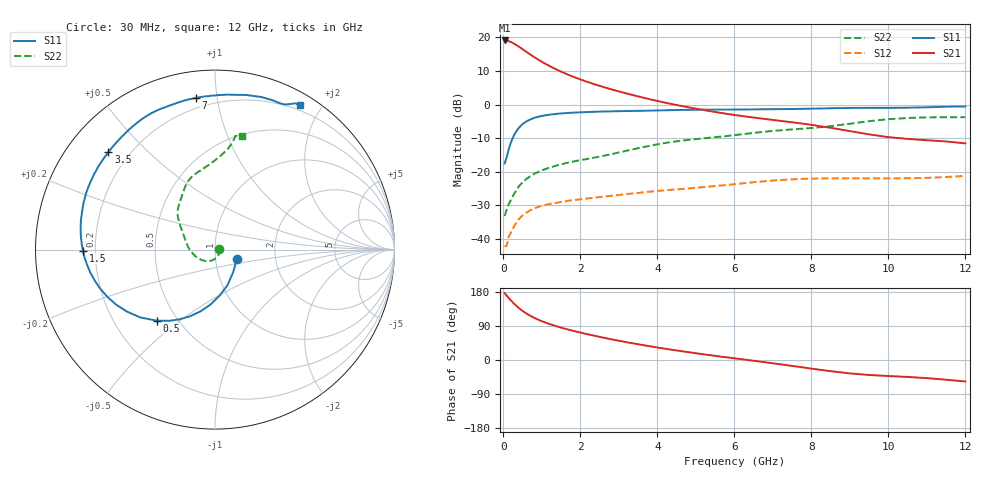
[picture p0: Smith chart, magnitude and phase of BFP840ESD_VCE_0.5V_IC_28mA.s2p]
! Infineon Technologies  Discrete & RF Semiconductors
! BFP840ESD
! VCE =  0.5 V,  IC =  28 mA
! Common Emitter S-Parameters:  May 2012
# GHz  S  MA  R  50
!  f  S11  S21  S12  S22
! GHz  MAG  ANG  MAG  ANG  MAG  ANG  MAG  ANG
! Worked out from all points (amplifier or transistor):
!   93 points, 30 MHz to 12 GHz, reference 50 ohm
!   highest |S21| = 19.1 dB at 30 MHz (marker M1)
!   |S21| within 3 dB of that: start of sweep to 546.3 MHz
!   unconditionally stable (mu >= 1): start of sweep to end of sweep
!   at 1.1 GHz: K = 2.07, MAG = 15.1 dB, |S12| = -29.9 dB
!   at 4.2 GHz: K = 2.90, MAG = 5.6 dB, |S12| = -25.6 dB
!   at 12 GHz: K = 2.11, MAG = -1.1 dB, |S12| = -21.3 dB
!   S11 on the Smith chart (normalised r, x): 30 MHz: 1.27, -0.13; 500 MHz: 0.39, -0.41; 1.5 GHz: 0.15, -0.00; 3.5 GHz: 0.12, +0.38; 7 GHz: 0.14, +0.87; 12 GHz: 0.14, +1.73
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0.03  0.1324 -22.6  8.975 176.6  0.0078 14.6  0.0219 7.9
0.08  0.1612 -51.0  8.943 170.4  0.0078 24.2  0.0269 -23.9
0.13  0.2093 -70.4  8.783 164.5  0.0106 33.2  0.032 -43.1
0.18  0.2579 -84.3  8.551 158.8  0.012 36.4  0.0367 -60.1
0.28  0.3538 -103.3  8.01 148.2  0.0155 40.9  0.0471 -81.9
0.38  0.4353 -116.9  7.375 138.9  0.0191 42.6  0.0583 -99.7
0.5  0.5126 -129.4  6.63 129.3  0.0225 41.1  0.0695 -114.9
0.6  0.5624 -137.8  6.048 122.5  0.0246 38.9  0.0785 -125.0
0.7  0.6002 -144.9  5.534 116.6  0.0268 37.3  0.0859 -133.7
0.9  0.6555 -156.4  4.674 106.5  0.0299 34.1  0.0988 -147.2
1  0.6758 -161.3  4.318 102.3  0.0313 33.0  0.105 -152.4
1.2  0.7065 -169.5  3.734 94.8  0.0332 30.4  0.1153 -161.3
1.5  0.7362 -179.6  3.079 85.3  0.0356 28.7  0.1284 -172.0
2.1  0.7685 164.7  2.248 69.9  0.0395 25.8  0.1522 173.2
2.8  0.7907 150.1  1.683 54.7  0.0438 24.1  0.1824 158.6
3.5  0.8049 137.6  1.319 41.5  0.0483 22.1  0.2238 147.6
4.1  0.8175 128.1  1.097 31.3  0.0523 19.7  0.2616 140.8
6.1  0.8419 106.5  0.686 3.2  0.0661 12.1  0.3554 121.0
7  0.8517 97.3  0.589 -8.7  0.0738 5.6  0.4037 112.5
8.5  0.8791 78.5  0.45 -29.5  0.0797 -7.4  0.4754 93.7
10.5  0.896 64.5  0.308 -44.7  0.08 -19.0  0.6295 80.1
12  0.9341 59.7  0.264 -56.8  0.0865 -24.8  0.6491 76.5
